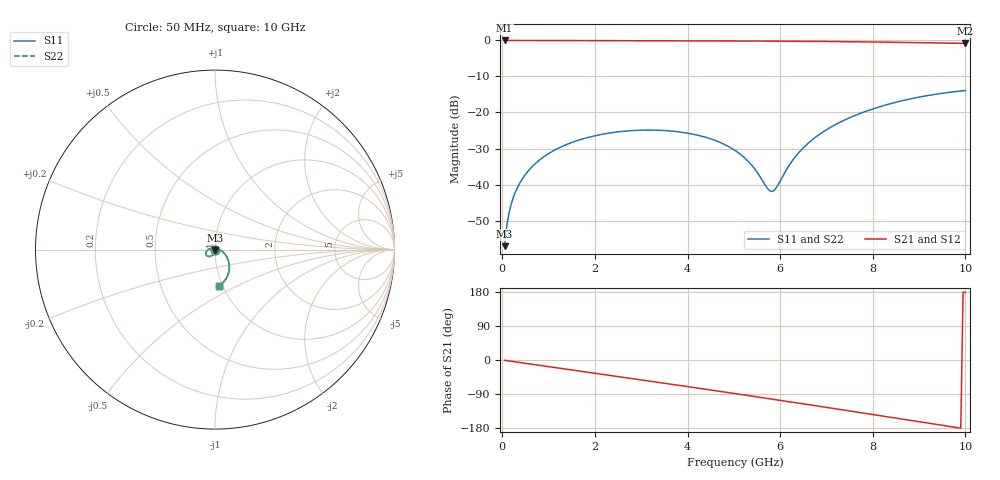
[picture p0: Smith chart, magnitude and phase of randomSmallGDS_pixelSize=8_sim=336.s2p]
! freq	dB(S11)	phase(S11)	dB(S12)	phase(S12)
!  dB(S21)	phase(S21)	dB(S22)	phase(S22)
!S-par simulation data
#  GHz  S  DB  R 50
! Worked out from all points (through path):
!   200 points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, 50 MHz to 10 GHz, reference 50 ohm
!   highest |S21| = 0.00 dB at 50 MHz (marker M1); lowest = -0.8 dB at 10 GHz (marker M2)
!   group delay of S21, straight-line fit = 50.4 ps
!   lowest |S11| = -57.1 dB at 50 MHz (marker M3), VSWR 1.00, Z = 50 - j0.139 ohm
!   |S11| at or under -10 dB: start of sweep to end of sweep
!   |S22| runs from -57.1 to -13.9 dB; largest |S21 - S12| = 0
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0.05  -57.11 -89.8  -0.00 -0.9  -0.00 -0.9  -57.11 -89.8
0.1  -51.09 -91.3  -0.00 -1.8  -0.00 -1.8  -51.09 -91.3
0.15  -47.57 -92.4  -0.00 -2.7  -0.00 -2.7  -47.57 -92.4
0.2  -45.08 -93.5  -0.00 -3.5  -0.00 -3.5  -45.08 -93.5
0.35  -40.24 -96.4  -0.01 -6.2  -0.01 -6.2  -40.24 -96.4
0.5  -37.18 -99.2  -0.01 -8.8  -0.01 -8.8  -37.18 -99.2
0.7  -34.34 -102.9  -0.02 -12.3  -0.02 -12.3  -34.34 -102.9
1  -31.41 -108.5  -0.02 -17.6  -0.02 -17.6  -31.41 -108.5
1.75  -27.28 -122.1  -0.04 -30.6  -0.04 -30.6  -27.28 -122.1
2.55  -25.30 -136.7  -0.06 -44.6  -0.06 -44.6  -25.30 -136.7
3.4  -24.94 -152.5  -0.08 -59.6  -0.08 -59.6  -24.94 -152.6
4.35  -26.73 -171.9  -0.11 -76.5  -0.11 -76.5  -26.73 -172.0
5.05  -30.74 169.3  -0.14 -89.1  -0.14 -89.1  -30.74 169.1
5.4  -34.85 152.6  -0.15 -95.4  -0.15 -95.4  -34.84 152.4
5.75  -41.46 101.2  -0.17 -101.8  -0.17 -101.8  -41.38 101.0
5.85  -41.83 70.6  -0.18 -103.7  -0.18 -103.7  -41.73 70.6
6.3  -32.75 2.1  -0.21 -112.0  -0.21 -112.0  -32.73 2.3
6.7  -27.50 -14.6  -0.25 -119.4  -0.25 -119.4  -27.49 -14.4
7.4  -22.03 -32.6  -0.34 -132.5  -0.34 -132.5  -22.03 -32.5
8.35  -17.67 -52.4  -0.49 -150.5  -0.49 -150.5  -17.66 -52.3
9.15  -15.38 -67.9  -0.64 -165.7  -0.64 -165.7  -15.37 -67.8
10  -13.91 -83.6  -0.82 178.2  -0.82 178.2  -13.91 -83.5
